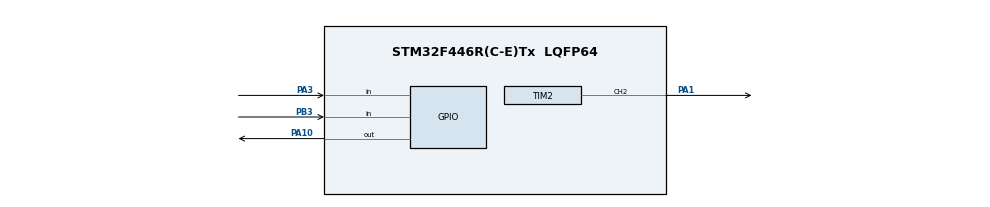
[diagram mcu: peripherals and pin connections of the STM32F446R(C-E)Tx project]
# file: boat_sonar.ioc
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Mcu.Family=STM32F4
VP_TIM14_VS_no_output1.Mode=Output Compare1 No Output
RCC.CortexFreq_Value=16000000
TIM2.Channel-PWM\ Generation2\ CH2=TIM_CHANNEL_2
ProjectManager.StackSize=0x400
SH.S_TIM2_CH2.0=TIM2_CH2,PWM Generation2 CH2
TIM13.Channel=TIM_CHANNEL_1
ProjectManager.TargetToolchain=STM32CubeIDE
RCC.USBFreq_Value=96000000
TIM12.Channel-Output\ Compare1\ No\ Output=TIM_CHANNEL_1
PA1.Signal=S_TIM2_CH2
TIM12.Prescaler=63
NVIC.TIM8_TRG_COM_TIM14_IRQn=true\:0\:0\:false\:false\:true\:true\:true
board=custom
RCC.VCOOutputFreq_Value=192000000
TIM13.Period=999
TIM14.Period=300
TIM12.Period=65535
VP_TIM12_VS_no_output1.Mode=Output Compare1 No Output
VP_TIM13_VS_ClockSourceINT.Mode=Enable_Timer
TIM14.Channel=TIM_CHANNEL_1
TIM13.Prescaler=15999
TIM2.Period=2000
Mcu.Name=STM32F446R(C-E)Tx
TIM14.Prescaler=15999
PB3.Signal=GPIO_Input
Mcu.Package=LQFP64
TIM2.Prescaler=159
VP_TIM13_VS_no_output1.Mode=Output Compare1 No Output
PA10.Signal=GPIO_Output
ProjectManager.HeapSize=0x200
TIM2.Pulse-PWM\ Generation2\ CH2=100
NVIC.TIM8_UP_TIM13_IRQn=true\:0\:0\:false\:false\:true\:true\:true
NVIC.PriorityGroup=NVIC_PRIORITYGROUP_4
VP_TIM14_VS_ClockSourceINT.Mode=Enable_Timer
PA3.Signal=GPIO_Input

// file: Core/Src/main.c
/* USER CODE BEGIN Header */
/**
  ******************************************************************************
  * @file           : main.c
  * @brief          : Main program body
  ******************************************************************************
  * @attention
  *
  * <h2><center>&copy; Copyright (c) 2024 STMicroelectronics.
  * All rights reserved.</center></h2>
  *
  * This software component is licensed by ST under BSD 3-Clause license,
  * the "License"; You may not use this file except in compliance with the
  * License. You may obtain a copy of the License at:
  *                        opensource.org/licenses/BSD-3-Clause
  *
  ******************************************************************************
  */
/* USER CODE END Header */
#include "main.h"

TIM_HandleTypeDef htim2;
TIM_HandleTypeDef htim12;
TIM_HandleTypeDef htim13;
TIM_HandleTypeDef htim14;

/* USER CODE BEGIN PV */

#define TRIG_PIN GPIO_PIN_10
#define TRIG_PORT GPIOA
#define ECHO_PIN GPIO_PIN_3
#define ECHO_PORT GPIOA

/* USER CODE END PV */

void SystemClock_Config(void);
static void MX_GPIO_Init(void);
static void MX_TIM2_Init(void);
static void MX_TIM14_Init(void);
static void MX_TIM13_Init(void);
static void MX_TIM12_Init(void);

/* USER CODE BEGIN 0 */
uint16_t distance = 0;
/* USER CODE END 0 */

int main(void)
{

  /* MCU Configuration--------------------------------------------------------*/

  /* Reset of all peripherals, Initializes the Flash interface and the Systick. */
  HAL_Init();

  /* Configure the system clock */
  SystemClock_Config();

  /* Initialize all configured peripherals */
  MX_GPIO_Init();
  MX_TIM2_Init();
  MX_TIM14_Init();
  MX_TIM13_Init();
  MX_TIM12_Init();
  /* USER CODE BEGIN 2 */

  HAL_GPIO_WritePin(TRIG_PORT, TRIG_PIN, GPIO_PIN_RESET);

  HAL_TIM_Base_Start_IT(&htim12);
  HAL_TIM_PWM_Start(&htim2, TIM_CHANNEL_2);
  //HAL_TIM_Base_Start_IT(&htim14);
  HAL_TIM_Base_Start_IT(&htim13);

  /* USER CODE END 2 */

  /* Infinite loop */
  while (1)
  {

  }
}

void SystemClock_Config(void)
{
  RCC_OscInitTypeDef RCC_OscInitStruct = {0};
  RCC_ClkInitTypeDef RCC_ClkInitStruct = {0};

  /** Configure the main internal regulator output voltage
  */
  __HAL_RCC_PWR_CLK_ENABLE();
  __HAL_PWR_VOLTAGESCALING_CONFIG(PWR_REGULATOR_VOLTAGE_SCALE3);
  /** Initializes the RCC Oscillators according to the specified parameters
  * in the RCC_OscInitTypeDef structure.
  */
  RCC_OscInitStruct.OscillatorType = RCC_OSCILLATORTYPE_HSI;
  RCC_OscInitStruct.HSIState = RCC_HSI_ON;
  RCC_OscInitStruct.HSICalibrationValue = RCC_HSICALIBRATION_DEFAULT;
  RCC_OscInitStruct.PLL.PLLState = RCC_PLL_NONE;
  if (HAL_RCC_OscConfig(&RCC_OscInitStruct) != HAL_OK)
  {
    Error_Handler();
  }
  /** Initializes the CPU, AHB and APB buses clocks
  */
  RCC_ClkInitStruct.ClockType = RCC_CLOCKTYPE_HCLK|RCC_CLOCKTYPE_SYSCLK
                              |RCC_CLOCKTYPE_PCLK1|RCC_CLOCKTYPE_PCLK2;
  RCC_ClkInitStruct.SYSCLKSource = RCC_SYSCLKSOURCE_HSI;
  RCC_ClkInitStruct.AHBCLKDivider = RCC_SYSCLK_DIV1;
  RCC_ClkInitStruct.APB1CLKDivider = RCC_HCLK_DIV1;
  RCC_ClkInitStruct.APB2CLKDivider = RCC_HCLK_DIV1;

  if (HAL_RCC_ClockConfig(&RCC_ClkInitStruct, FLASH_LATENCY_0) != HAL_OK)
  {
    Error_Handler();
  }
}

static void MX_TIM2_Init(void)
{

  TIM_MasterConfigTypeDef sMasterConfig = {0};
  TIM_OC_InitTypeDef sConfigOC = {0};

  htim2.Instance = TIM2;
  htim2.Init.Prescaler = 159;
  htim2.Init.CounterMode = TIM_COUNTERMODE_UP;
  htim2.Init.Period = 2000;
  htim2.Init.ClockDivision = TIM_CLOCKDIVISION_DIV1;
  htim2.Init.AutoReloadPreload = TIM_AUTORELOAD_PRELOAD_DISABLE;
  if (HAL_TIM_PWM_Init(&htim2) != HAL_OK)
  {
    Error_Handler();
  }
  sMasterConfig.MasterOutputTrigger = TIM_TRGO_RESET;
  sMasterConfig.MasterSlaveMode = TIM_MASTERSLAVEMODE_DISABLE;
  if (HAL_TIMEx_MasterConfigSynchronization(&htim2, &sMasterConfig) != HAL_OK)
  {
    Error_Handler();
  }
  sConfigOC.OCMode = TIM_OCMODE_PWM1;
  sConfigOC.Pulse = 100;
  sConfigOC.OCPolarity = TIM_OCPOLARITY_HIGH;
  sConfigOC.OCFastMode = TIM_OCFAST_DISABLE;
  if (HAL_TIM_PWM_ConfigChannel(&htim2, &sConfigOC, TIM_CHANNEL_2) != HAL_OK)
  {
    Error_Handler();
  }
  HAL_TIM_MspPostInit(&htim2);

}

static void MX_TIM12_Init(void)
{

  TIM_OC_InitTypeDef sConfigOC = {0};

  htim12.Instance = TIM12;
  htim12.Init.Prescaler = 63;
  htim12.Init.CounterMode = TIM_COUNTERMODE_UP;
  htim12.Init.Period = 65535;
  htim12.Init.ClockDivision = TIM_CLOCKDIVISION_DIV1;
  htim12.Init.AutoReloadPreload = TIM_AUTORELOAD_PRELOAD_DISABLE;
  if (HAL_TIM_OC_Init(&htim12) != HAL_OK)
  {
    Error_Handler();
  }
  sConfigOC.OCMode = TIM_OCMODE_TIMING;
  sConfigOC.Pulse = 0;
  sConfigOC.OCPolarity = TIM_OCPOLARITY_HIGH;
  sConfigOC.OCFastMode = TIM_OCFAST_DISABLE;
  if (HAL_TIM_OC_ConfigChannel(&htim12, &sConfigOC, TIM_CHANNEL_1) != HAL_OK)
  {
    Error_Handler();
  }

}

static void MX_TIM13_Init(void)
{

  TIM_OC_InitTypeDef sConfigOC = {0};

  htim13.Instance = TIM13;
  htim13.Init.Prescaler = 15999;
  htim13.Init.CounterMode = TIM_COUNTERMODE_UP;
  htim13.Init.Period = 999;
  htim13.Init.ClockDivision = TIM_CLOCKDIVISION_DIV1;
  htim13.Init.AutoReloadPreload = TIM_AUTORELOAD_PRELOAD_DISABLE;
  if (HAL_TIM_Base_Init(&htim13) != HAL_OK)
  {
    Error_Handler();
  }
  if (HAL_TIM_OC_Init(&htim13) != HAL_OK)
  {
    Error_Handler();
  }
  sConfigOC.OCMode = TIM_OCMODE_TIMING;
  sConfigOC.Pulse = 0;
  sConfigOC.OCPolarity = TIM_OCPOLARITY_HIGH;
  sConfigOC.OCFastMode = TIM_OCFAST_DISABLE;
  if (HAL_TIM_OC_ConfigChannel(&htim13, &sConfigOC, TIM_CHANNEL_1) != HAL_OK)
  {
    Error_Handler();
  }

}

static void MX_TIM14_Init(void)
{

  TIM_OC_InitTypeDef sConfigOC = {0};

  htim14.Instance = TIM14;
  htim14.Init.Prescaler = 15999;
  htim14.Init.CounterMode = TIM_COUNTERMODE_UP;
  htim14.Init.Period = 300;
  htim14.Init.ClockDivision = TIM_CLOCKDIVISION_DIV1;
  htim14.Init.AutoReloadPreload = TIM_AUTORELOAD_PRELOAD_DISABLE;
  if (HAL_TIM_Base_Init(&htim14) != HAL_OK)
  {
    Error_Handler();
  }
  if (HAL_TIM_OC_Init(&htim14) != HAL_OK)
  {
    Error_Handler();
  }
  sConfigOC.OCMode = TIM_OCMODE_TIMING;
  sConfigOC.Pulse = 0;
  sConfigOC.OCPolarity = TIM_OCPOLARITY_HIGH;
  sConfigOC.OCFastMode = TIM_OCFAST_DISABLE;
  if (HAL_TIM_OC_ConfigChannel(&htim14, &sConfigOC, TIM_CHANNEL_1) != HAL_OK)
  {
    Error_Handler();
  }

}

static void MX_GPIO_Init(void)
{
  GPIO_InitTypeDef GPIO_InitStruct = {0};

  /* GPIO Ports Clock Enable */
  __HAL_RCC_GPIOA_CLK_ENABLE();
  __HAL_RCC_GPIOB_CLK_ENABLE();

  /*Configure GPIO pin Output Level */
  HAL_GPIO_WritePin(GPIOA, GPIO_PIN_10, GPIO_PIN_RESET);

  /*Configure GPIO pin : PA3 */
  GPIO_InitStruct.Pin = GPIO_PIN_3;
  GPIO_InitStruct.Mode = GPIO_MODE_INPUT;
  GPIO_InitStruct.Pull = GPIO_NOPULL;
  HAL_GPIO_Init(GPIOA, &GPIO_InitStruct);

  /*Configure GPIO pin : PA10 */
  GPIO_InitStruct.Pin = GPIO_PIN_10;
  GPIO_InitStruct.Mode = GPIO_MODE_OUTPUT_PP;
  GPIO_InitStruct.Pull = GPIO_NOPULL;
  GPIO_InitStruct.Speed = GPIO_SPEED_FREQ_LOW;
  HAL_GPIO_Init(GPIOA, &GPIO_InitStruct);

  /*Configure GPIO pin : PB3 */
  GPIO_InitStruct.Pin = GPIO_PIN_3;
  GPIO_InitStruct.Mode = GPIO_MODE_INPUT;
  GPIO_InitStruct.Pull = GPIO_NOPULL;
  HAL_GPIO_Init(GPIOB, &GPIO_InitStruct);

}

/* USER CODE BEGIN 4 */

int pwm = 40;

uint32_t pMillis;
uint32_t val1 = 0;
uint32_t val2 = 0;

char string[15];

/*void microsecondsDelay(int delay){
	(&htim12)->Instance->CNT  = 0 ;
	while ((&htim12)->Instance->CNT < delay);  // wait for 10 us
}*/

void HAL_TIM_PeriodElapsedCallback(TIM_HandleTypeDef* htim)
{
	/*if (htim->Instance == TIM14){
		if (pwm<260){
				pwm+=10;
			} else {
				pwm = 40;
			}
			__HAL_TIM_SET_COMPARE(&htim2, TIM_CHANNEL_2, pwm);
			//htim2.Instance->CCR2 = pwm;
	}*/
	if (htim->Instance == TIM13) {

		HAL_GPIO_WritePin(TRIG_PORT, TRIG_PIN, GPIO_PIN_SET);
		(&htim12)->Instance->CNT  = 0 ;
		while ((&htim12)->Instance->CNT < 30);  // wait for 10 us
		HAL_GPIO_WritePin(TRIG_PORT, TRIG_PIN, GPIO_PIN_RESET);

		//HAL_GPIO_ReadPin(GPIOA, GPIO_PIN_3);
		//pMillis = HAL_GetTick();
		(&htim12)->Instance->CNT  = 0 ;
		while (!(HAL_GPIO_ReadPin (ECHO_PORT, ECHO_PIN)));
		//int waitTime=  (&htim12)->Instance->CNT ;
	    //__HAL_TIM_GET_COUNTER (&htim12);

	    //pMillis = HAL_GetTick();

	    (&htim12)->Instance->CNT  = 0 ;
	    //val1 = (&htim12)->Instance->CNT ;
	    while ((HAL_GPIO_ReadPin (ECHO_PORT, ECHO_PIN)) && (&htim12)->Instance->CNT < 60000) ;

	    distance = (&htim12)->Instance->CNT;
	    // 0.034/2;

	    //HAL_GPIO_WritePin(ECHO_PORT, ECHO_PIN	, GPIO_PIN_RESET);

	   //SSD1306_GotoXY (20, 0);
	   //SSD1306_Puts ("Distance", &Font_11x18, 1);
	   //SSD1306_GotoXY (55, 30);
	   //SSD1306_Puts (string, &Font_16x26, 1);
	   //SSD1306_UpdateScreen();
	   //HAL_Delay(50);
	}
}

/*void sendStartSignal(){
	//HAL_GPIO_WritePin(TRIG_PORT, TRIG_PIN, GPIO_PIN_RESET);
	//microsecondsDelay(5);

	HAL_GPIO_WritePin(TRIG_PORT, TRIG_PIN, GPIO_PIN_SET);
	microsecondsDelay(60);
	HAL_GPIO_WritePin(TRIG_PORT, TRIG_PIN, GPIO_PIN_RESET);
}*/

/* USER CODE END 4 */

void Error_Handler(void)
{
  __disable_irq();
  while (1)
  {
  }
}

/************************ (C) COPYRIGHT STMicroelectronics *****END OF FILE****/
